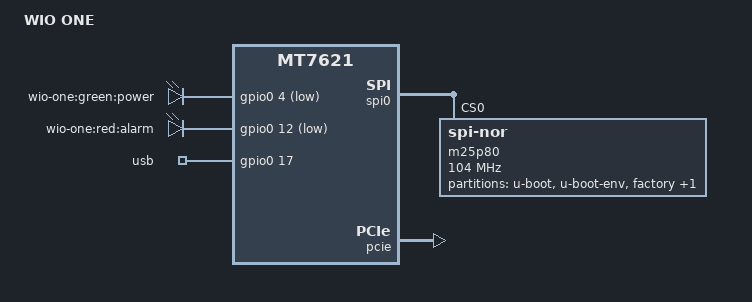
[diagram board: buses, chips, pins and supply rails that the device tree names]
/dts-v1/;

#include "mt7621.dtsi"

#include <dt-bindings/gpio/gpio.h>
#include <dt-bindings/input/input.h>

/ {
	compatible = "wio,wio-one", "mediatek,mt7621-soc";
	model = "WIO ONE";

	aliases {
		led-boot = &led_power;
		led-failsafe = &led_power;
		led-running = &led_power;
		led-upgrade = &led_power;
	};

	chosen {
		bootargs = "console=ttyS0,57600";
	};

	gpio-leds {
		compatible = "gpio-leds";

		led_power: power {
			label = "wio-one:green:power";
			gpios = <&gpio0 4 GPIO_ACTIVE_LOW>;
		};

		alarm {
			label = "wio-one:red:alarm";
			gpios = <&gpio0 12 GPIO_ACTIVE_LOW>;
		};
	};

	gpio_export {
		compatible = "gpio-export";
		#size-cells = <0>;

		usb_power {
			gpio-export,name = "usb";
			gpio-export,output = <1>;
			gpios = <&gpio0 17 GPIO_ACTIVE_HIGH>;
		};
	};
};

&spi0 {
	status = "okay";

	m25p80@0 {
		compatible = "jedec,spi-nor";
		reg = <0>;
		spi-max-frequency = <104000000>;
		m25p,fast-read;
		m25p,chunked-io = <32>;

		partitions {
			compatible = "fixed-partitions";
			#address-cells = <1>;
			#size-cells = <1>;

			partition@0 {
				label = "u-boot";
				reg = <0x0 0x30000>;
				read-only;
			};

			partition@30000 {
				label = "u-boot-env";
				reg = <0x30000 0x10000>;
				read-only;
			};

			factory: partition@40000 {
				label = "factory";
				reg = <0x40000 0x10000>;
				read-only;
			};

			partition@50000 {
				label = "firmware";
				reg = <0x50000 0xfb0000>;
				compatible = "denx,uimage";
			};
		};
	};
};

&ethernet {
	mtd-mac-address = <&factory 4>;
	mtd-mac-address-increment = <(-2)>;
};

&pinctrl {
	state_default: pinctrl0 {
		gpio {
			ralink,group = "i2c", "uart2", "uart3", "rgmii2", "sdhci", "jtag";
			ralink,function = "gpio";
		};
	};
};

&pcie {
	status = "okay";
};

&pcie0 {
	mt76@0,0 {
		reg = <0x0000 0 0 0 0>;
		mediatek,mtd-eeprom = <&factory 0x8000>;
		ieee80211-freq-limit = <5000000 6000000>;
		adant,sas-devid = <1>;
		adant,sas-gpio = <45 46 47 48>;
	};
};

&pcie1 {
	mt76@0,0 {
		reg = <0x0000 0 0 0 0>;
		mediatek,mtd-eeprom = <&factory 0x0000>;
		adant,sas-devid = <0>;
		adant,sas-gpio = <41 42 43 44>;
	};
};

&xhci {
	status = "disabled";
};
